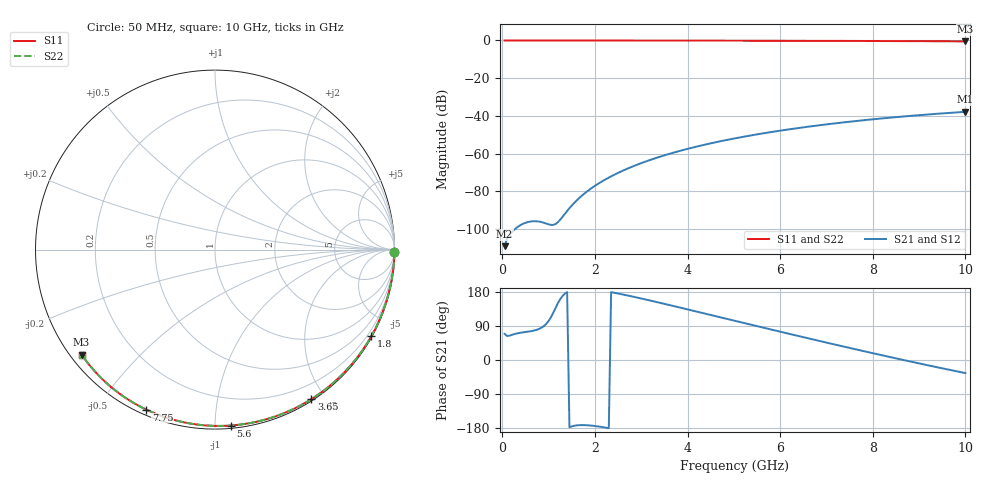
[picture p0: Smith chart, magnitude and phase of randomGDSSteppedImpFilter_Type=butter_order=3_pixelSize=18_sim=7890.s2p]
! freq	dB(S11)	phase(S11)	dB(S12)	phase(S12)
!  dB(S21)	phase(S21)	dB(S22)	phase(S22)
!S-par simulation data
#  GHz  S  DB  R 50
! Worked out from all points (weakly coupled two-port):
!   200 points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, 50 MHz to 10 GHz, reference 50 ohm
!   highest |S21| = -37.85 dB at 10 GHz (marker M1); lowest = -109.1 dB at 50 MHz (marker M2)
!   lowest |S11| = -0.5 dB at 10 GHz (marker M3), VSWR 35.98, Z = 1.56 - j17.3 ohm
!   |S11| at or under -10 dB: nowhere
!   |S22| runs from -0.5 to 0.0 dB; largest |S21 - S12| = 0
!   S11 on the Smith chart (normalised r, x): 50 MHz: open; 1.8 GHz: 0.03, -3.88; 3.65 GHz: 0.02, -1.83; 5.6 GHz: 0.02, -1.09; 7.75 GHz: 0.02, -0.66; 10 GHz: 0.03, -0.35
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0.05  -0.00 -0.8  -109.11 69.0  -109.11 69.0  -0.00 -0.8
0.45  -0.01 -7.3  -97.21 72.9  -97.21 72.9  -0.01 -7.3
0.9  -0.02 -14.6  -96.70 89.8  -96.70 89.8  -0.02 -14.6
1.75  -0.04 -28.1  -81.66 -171.8  -81.66 -171.8  -0.04 -28.1
1.8  -0.04 -28.9  -80.66 -172.0  -80.66 -172.0  -0.04 -28.9
1.85  -0.04 -29.7  -79.71 -172.3  -79.71 -172.3  -0.04 -29.7
2.05  -0.04 -32.8  -76.30 -174.9  -76.30 -174.9  -0.04 -32.8
2.25  -0.05 -36.0  -73.38 -178.8  -73.38 -178.8  -0.05 -36.0
2.55  -0.05 -40.6  -69.65 174.2  -69.65 174.2  -0.05 -40.6
2.95  -0.06 -46.7  -65.53 163.7  -65.53 163.7  -0.06 -46.7
3.4  -0.07 -53.5  -61.69 151.1  -61.69 151.1  -0.07 -53.5
3.65  -0.08 -57.2  -59.83 143.9  -59.83 143.9  -0.08 -57.2
4.3  -0.09 -66.7  -55.68 124.8  -55.68 124.8  -0.09 -66.7
5.05  -0.12 -77.3  -51.80 102.6  -51.80 102.6  -0.12 -77.3
5.6  -0.14 -84.9  -49.40 86.4  -49.40 86.4  -0.14 -84.9
6.15  -0.16 -92.4  -47.30 70.4  -47.30 70.4  -0.16 -92.4
6.7  -0.19 -99.7  -45.44 54.5  -45.44 54.5  -0.19 -99.7
7.2  -0.22 -106.2  -43.93 40.2  -43.93 40.2  -0.22 -106.2
7.75  -0.26 -113.3  -42.44 24.8  -42.44 24.8  -0.26 -113.3
8.35  -0.31 -120.9  -41.00 8.4  -41.00 8.4  -0.31 -120.9
9.2  -0.39 -131.6  -39.24 -14.2  -39.24 -14.2  -0.39 -131.6
10  -0.48 -141.8  -37.85 -34.6  -37.85 -34.6  -0.48 -141.8
